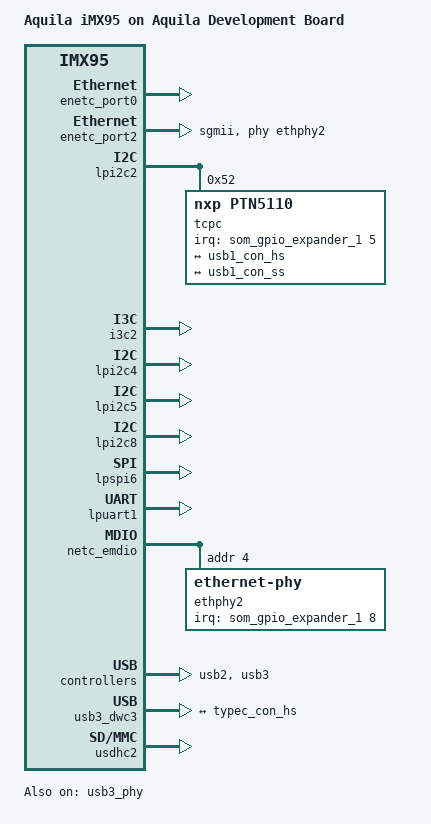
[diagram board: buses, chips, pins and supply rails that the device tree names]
// SPDX-License-Identifier: GPL-2.0-or-later OR MIT
/*
 * Copyright (C) 2025 Toradex
 *
 * https://www.toradex.com/computer-on-modules/aquila-arm-family/nxp-imx95
 * https://www.toradex.com/products/carrier-board/aquila-development-board-kit
 */

/dts-v1/;

#include <dt-bindings/usb/pd.h>
#include "imx95-aquila.dtsi"

/ {
	model = "Aquila iMX95 on Aquila Development Board";
	compatible = "toradex,aquila-imx95-dev",
		     "toradex,aquila-imx95",
		     "fsl,imx95";
};

/* Aquila ETH_1 */
&enetc_port0 {
	status = "okay";
};

/* Aquila ETH_2_XGMII */
&enetc_port2 {
	phy-handle = <&ethphy2>;
	phy-mode = "sgmii";
	status = "okay";
};

/* Aquila I2C_1 */
&lpi2c2 {
	status = "okay";

	/* USB-C OTG (TCPC USB PD PHY) */
	tcpc@52 {
		compatible = "nxp,ptn5110", "tcpci";
		reg = <0x52>;
		interrupt-parent = <&som_gpio_expander_1>;
		interrupts = <5 IRQ_TYPE_EDGE_FALLING>;

		connector {
			compatible = "usb-c-connector";
			label = "USB-C OTG";
			data-role = "dual";
			power-role = "dual";
			try-power-role = "sink";
			self-powered;
			source-pdos = <PDO_FIXED(5000, 3000, PDO_FIXED_USB_COMM)>;
			sink-pdos = <PDO_FIXED(5000, 3000, PDO_FIXED_USB_COMM)>;
			op-sink-microwatt = <1000000>;

			ports {
				#address-cells = <1>;
				#size-cells = <0>;

				port@0 {
					reg = <0>;

					typec_con_hs: endpoint {
						remote-endpoint = <&usb1_con_hs>;
					};
				};

				port@1 {
					reg = <1>;

					typec_con_ss: endpoint {
						remote-endpoint = <&usb1_con_ss>;
					};
				};
			};
		};
	};
};

/* Aquila I2C_2 */
&i3c2 {
	status = "okay";
};

/* Aquila I2C_4_CSI1 */
&lpi2c4 {
	status = "okay";
};

/* Aquila I2C_6 */
&lpi2c5 {
	status = "okay";
};

/* Aquila I2C_3_DSI1/I2C_5_CSI2 */
&lpi2c8 {
	status = "okay";
};

/* Aquila SPI_1 */
&lpspi6 {
	status = "okay";
};

/* Aquila UART_3, used as the Linux Console */
&lpuart1 {
	status = "okay";
};

/* Aquila ETH_2_XGMII_MDIO, shared between all ethernet ports */
&netc_emdio {
	status = "okay";

	ethphy2: ethernet-phy@4 {
		reg = <4>;
		interrupt-parent = <&som_gpio_expander_1>;
		interrupts = <8 IRQ_TYPE_EDGE_FALLING>;
	};
};

/* Aquila USB_2, optional Bluetooth USB */
&usb2 {
	status = "okay";
};

/* Aquila USB_1 */
&usb3 {
	status = "okay";
};

&usb3_dwc3 {
	status = "okay";

	port {
		usb1_con_hs: endpoint {
			remote-endpoint = <&typec_con_hs>;
		};
	};
};

&usb3_phy {
	orientation-switch;
	status = "okay";

	port {
		usb1_con_ss: endpoint {
			remote-endpoint = <&typec_con_ss>;
		};
	};
};

/* Aquila SD_1 */
&usdhc2 {
	status = "okay";
};
